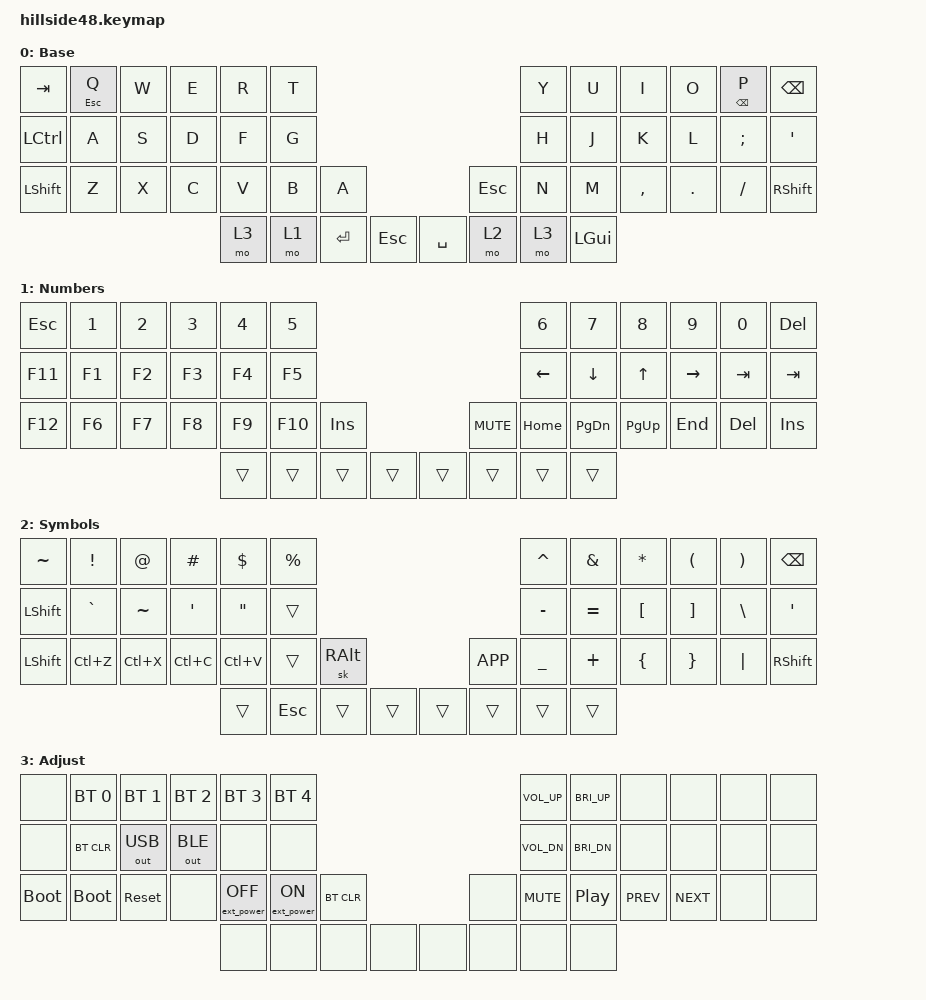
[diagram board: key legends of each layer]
/*
 * Hillside48 Keymap - Using Generic 3x6 Layout + Extras
 * 
 * Core 3x6 + 3 thumbs syncs from generic system
 * Extra keys: outer column + 4th thumb per side
 * 
 * Layout: 3x6 + 2 extra row keys + 4 thumbs = 48 keys
 */

#include <behaviors.dtsi>
#include <dt-bindings/zmk/bt.h>
#include <dt-bindings/zmk/ext_power.h>
#include <dt-bindings/zmk/keys.h>
#include <dt-bindings/zmk/outputs.h>

// Include the shared layer definitions FIRST

#include "generic_3x6_layers.dtsi"

#define Undo   LC(Z)
#define Cut    LC(X)
#define Copy   LC(C)
#define Paste  LC(V)

/ {
    behaviors {
        esc_q: escape_q {
            compatible = "zmk,behavior-hold-tap";
            #binding-cells = <2>;
            flavor = "tap-preferred";
            tapping-term-ms = <200>;
            quick-tap-ms = <150>;
            bindings = <&kp>, <&kp>;
        };

        bspc_p: backspace_p {
            compatible = "zmk,behavior-hold-tap";
            #binding-cells = <2>;
            flavor = "tap-preferred";
            tapping-term-ms = <200>;
            quick-tap-ms = <150>;
            bindings = <&kp>, <&kp>;
        };
    };

    combos {
        compatible = "zmk,combos";

        combo_unlock {
            timeout-ms = <50>;
            key-positions = <0 1>;
            bindings = <&studio_unlock>;
            layers = <0>;
        };

        combo_adj {
            timeout-ms = <200>;
            key-positions = <36 41>;
            bindings = <&mo 3>;
        };
    };

    keymap {
        compatible = "zmk,keymap";

        default_layer {
            display-name = "Base";

            // Core matches generic_3x6, with extra keys added

            bindings = <
&kp TAB    &esc_q ESC Q  &kp W  &kp E  &kp R  &kp T                                          &kp Y  &kp U     &kp I      &kp O    &bspc_p BSPC P  &kp BSPC
&kp LCTRL  &kp A         &kp S  &kp D  &kp F  &kp G                                          &kp H  &kp J     &kp K      &kp L    &kp SEMI        &kp SQT
&kp LSHFT  &kp Z         &kp X  &kp C  &kp V  &kp B  &kp A                          &kp ESC  &kp N  &kp M     &kp COMMA  &kp DOT  &kp SLASH       &kp RSHFT
                                       &mo 3  &mo 1  &kp RET  &kp ESC    &kp SPACE  &mo 2    &mo 3  &kp LGUI
            >;
        };

        num_layer {
            display-name = "Numbers";

            // Core matches generic_3x6, with extra keys

            bindings = <
&kp ESC  &kp N1  &kp N2  &kp N3  &kp N4  &kp N5                                          &kp N6    &kp N7     &kp N8     &kp N9     &kp N0   &kp DEL
&kp F11  &kp F1  &kp F2  &kp F3  &kp F4  &kp F5                                          &kp LEFT  &kp DOWN   &kp UP     &kp RIGHT  &kp TAB  &kp TAB
&kp F12  &kp F6  &kp F7  &kp F8  &kp F9  &kp F10  &kp INS                    &kp C_MUTE  &kp HOME  &kp PG_DN  &kp PG_UP  &kp END    &kp DEL  &kp INS
                                 &trans  &trans   &trans   &trans    &trans  &trans      &trans    &trans
            >;
        };

        sym_layer {
            display-name = "Symbols";

            // Core matches generic_3x6, with extra keys

            bindings = <
&kp TILDE  &kp EXCL   &kp AT     &kp HASH  &kp DLLR   &kp PRCNT                                         &kp CARET  &kp AMPS   &kp ASTRK  &kp LPAR  &kp RPAR  &kp BSPC
&kp LSHFT  &kp GRAVE  &kp TILDE  &kp SQT   &kp DQT    &trans                                            &kp MINUS  &kp EQUAL  &kp LBKT   &kp RBKT  &kp BSLH  &kp SQT
&kp LSHFT  &kp Undo   &kp Cut    &kp Copy  &kp Paste  &trans     &sk RALT                    &kp K_APP  &kp UNDER  &kp PLUS   &kp LBRC   &kp RBRC  &kp PIPE  &kp RSHFT
                                           &trans     &kp ESC    &trans    &trans    &trans  &trans     &trans     &trans
            >;
        };

        adj_layer {
            display-name = "Adjust";

            // Core matches generic_3x6, with extra keys

            bindings = <
&none        &bt BT_SEL 0  &bt BT_SEL 1  &bt BT_SEL 2  &bt BT_SEL 3       &bt BT_SEL 4                                         &kp C_VOL_UP  &kp C_BRI_UP  &none       &none       &none  &none
&none        &bt BT_CLR    &out OUT_USB  &out OUT_BLE  &none              &none                                                &kp C_VOL_DN  &kp C_BRI_DN  &none       &none       &none  &none
&bootloader  &bootloader   &sys_reset    &none         &ext_power EP_OFF  &ext_power EP_ON  &bt BT_CLR                  &none  &kp C_MUTE    &kp C_PP      &kp C_PREV  &kp C_NEXT  &none  &none
                                                       &none              &none             &none       &none    &none  &none  &none         &none
            >;
        };
    };
};
